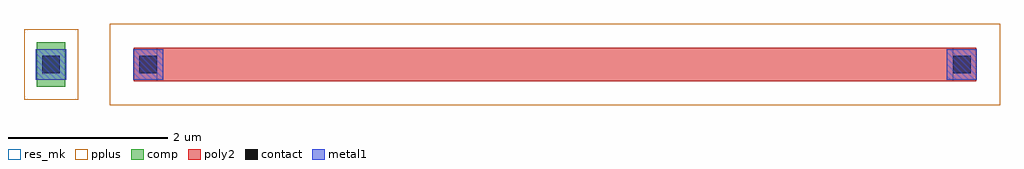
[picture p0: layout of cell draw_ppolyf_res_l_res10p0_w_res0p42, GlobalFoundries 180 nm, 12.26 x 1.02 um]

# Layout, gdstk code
import gdstk
lib = gdstk.Library(unit=1e-6, precision=1e-09)
def R(c, l, rs):  # rectangles x0, y0, x1, y1
    for r in rs: c.add(gdstk.rectangle(r[:2], r[2:], *l))
comp = (22, 0)
poly2 = (30, 0)
pplus = (31, 0)
contact = (33, 0)
metal1 = (34, 0)
res_mk = (110, 5)

draw_ppolyf_res_l_res10p = lib.new_cell('draw_ppolyf_res_l_res10p0_w_res0p42')
R(draw_ppolyf_res_l_res10p, comp, [(-1.51,-0.07,-1.15,0.49)])
R(draw_ppolyf_res_l_res10p, poly2, [(-0.29,0,10.29,0.42)])
R(draw_ppolyf_res_l_res10p, pplus, [(-0.59,-0.3,10.59,0.72), (-1.67,-0.23,-0.99,0.65)])
R(draw_ppolyf_res_l_res10p, contact, [(-1.44,0.1,-1.22,0.32), (-0.22,0.1,0,0.32), (10,0.1,10.22,0.32)])
R(draw_ppolyf_res_l_res10p, metal1, [(-1.52,0.02,-1.14,0.4), (-0.3,0.02,0.08,0.4), (9.92,0.02,10.3,0.4)])
R(draw_ppolyf_res_l_res10p, res_mk, [(0,0,10,0.42)])

lib.write_gds('draw_ppolyf_res_l_res10p0_w_res0p42.gds')
